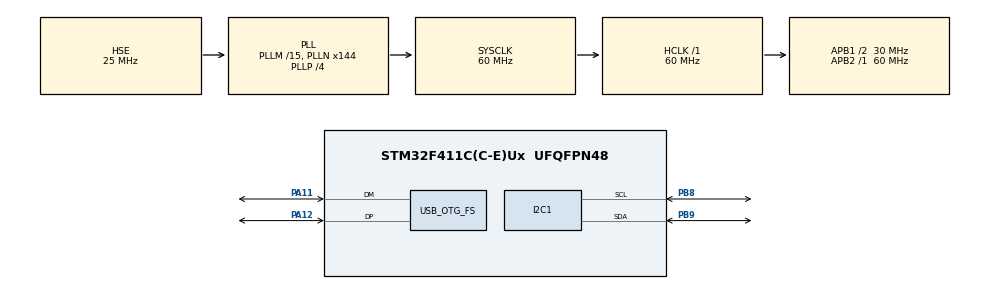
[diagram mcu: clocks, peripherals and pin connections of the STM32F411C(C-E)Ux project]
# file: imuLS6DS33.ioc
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Dma.I2C1_RX.0.Direction=DMA_PERIPH_TO_MEMORY
Dma.I2C1_RX.0.FIFOMode=DMA_FIFOMODE_DISABLE
Dma.I2C1_RX.0.Instance=DMA1_Stream0
Dma.I2C1_RX.0.MemDataAlignment=DMA_MDATAALIGN_BYTE
Dma.I2C1_RX.0.MemInc=DMA_MINC_ENABLE
Dma.I2C1_RX.0.Mode=DMA_NORMAL
Dma.I2C1_RX.0.PeriphDataAlignment=DMA_PDATAALIGN_BYTE
Dma.I2C1_RX.0.PeriphInc=DMA_PINC_DISABLE
Dma.I2C1_RX.0.Priority=DMA_PRIORITY_HIGH
Dma.Request0=I2C1_RX
I2C1.I2C_Mode=I2C_Fast
Mcu.Family=STM32F4
Mcu.Name=STM32F411C(C-E)Ux
Mcu.Package=UFQFPN48
NVIC.DMA1_Stream0_IRQn=true\:0\:0\:false\:false\:true\:false\:true\:true
NVIC.I2C1_ER_IRQn=true\:0\:0\:false\:false\:true\:true\:true\:true
NVIC.OTG_FS_IRQn=true\:0\:0\:false\:false\:true\:true\:true\:true
NVIC.PriorityGroup=NVIC_PRIORITYGROUP_4
NVIC.TIM1_TRG_COM_TIM11_IRQn=true\:0\:0\:false\:false\:true\:true\:true\:true
PA11.Mode=Device_Only
PA11.Signal=USB_OTG_FS_DM
PA12.Mode=Device_Only
PA12.Signal=USB_OTG_FS_DP
PA13.Mode=Serial_Wire
PA13.Signal=SYS_JTMS-SWDIO
PA14.Mode=Serial_Wire
PA14.Signal=SYS_JTCK-SWCLK
PB8.Mode=I2C
PB8.Signal=I2C1_SCL
PB9.Mode=I2C
PB9.Signal=I2C1_SDA
PH0\ -\ OSC_IN.Mode=HSE-External-Oscillator
PH0\ -\ OSC_IN.Signal=RCC_OSC_IN
PH1\ -\ OSC_OUT.Mode=HSE-External-Oscillator
PH1\ -\ OSC_OUT.Signal=RCC_OSC_OUT
ProjectManager.HeapSize=0x200
ProjectManager.StackSize=0x400
ProjectManager.TargetToolchain=STM32CubeIDE
RCC.48MHZClocksFreq_Value=48000000
RCC.AHBFreq_Value=60000000
RCC.APB1CLKDivider=RCC_HCLK_DIV2
RCC.APB1Freq_Value=30000000
RCC.APB1TimFreq_Value=60000000
RCC.APB2Freq_Value=60000000
RCC.APB2TimFreq_Value=60000000
RCC.CortexFreq_Value=60000000
RCC.HCLKFreq_Value=60000000
RCC.HSE_VALUE=25000000
RCC.HSI_VALUE=16000000
RCC.LSE_VALUE=32768
RCC.PLLM=15
RCC.PLLN=144
RCC.PLLP=RCC_PLLP_DIV4
RCC.PLLQ=5
RCC.SYSCLKFreq_VALUE=60000000
RCC.SYSCLKSource=RCC_SYSCLKSOURCE_PLLCLK
RCC.VCOOutputFreq_Value=240000000
TIM11.Period=10000-1
TIM11.Prescaler=60-1
USB_DEVICE.CLASS_NAME_FS=CDC
USB_DEVICE.VirtualMode=Cdc
USB_DEVICE.VirtualModeFS=Cdc_FS
USB_OTG_FS.VirtualMode=Device_Only
VP_TIM11_VS_ClockSourceINT.Mode=Enable_Timer
VP_USB_DEVICE_VS_USB_DEVICE_CDC_FS.Mode=CDC_FS
board=custom

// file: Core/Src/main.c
/* USER CODE BEGIN Header */
/**
  ******************************************************************************
  * @file           : main.c
  * @brief          : Main program body
  ******************************************************************************
  * @attention
  *
  * Copyright (c) 2025 STMicroelectronics.
  * All rights reserved.
  *
  * This software is licensed under terms that can be found in the LICENSE file
  * in the root directory of this software component.
  * If no LICENSE file comes with this software, it is provided AS-IS.
  *
  ******************************************************************************
  */
/* USER CODE END Header */
#include "main.h"
#include "usb_device.h"

/* USER CODE BEGIN Includes */
#include "usbd_cdc_if.h"
/* USER CODE END Includes */

I2C_HandleTypeDef hi2c1;
DMA_HandleTypeDef hdma_i2c1_rx;

TIM_HandleTypeDef htim11;

/* USER CODE BEGIN PV */
static const uint8_t imuAddr = 0b11010100;
static uint8_t imuData[15];
static uint8_t startReading = 0;
/* USER CODE END PV */

void SystemClock_Config(void);
static void MX_GPIO_Init(void);
static void MX_DMA_Init(void);
static void MX_I2C1_Init(void);
static void MX_TIM11_Init(void);

/* USER CODE BEGIN 0 */

void HAL_TIM_PeriodElapsedCallback(TIM_HandleTypeDef *htim)
{
	UNUSED(htim);
	if (startReading)
	{
		HAL_I2C_Mem_Read_DMA(&hi2c1, imuAddr, 0x20, I2C_MEMADD_SIZE_8BIT, imuData, 14);
	}
}

void HAL_I2C_MemRxCpltCallback(I2C_HandleTypeDef *hi2c)
{
	CDC_Transmit_FS(imuData, 14);
}

void onUsbRx(uint8_t* Buf)
{
	if (Buf[0] == 'r')
		startReading = 1;
	else if (Buf[0] == 's')
		startReading = 0;
}

/* USER CODE END 0 */

int main(void)
{

  /* MCU Configuration--------------------------------------------------------*/

  /* Reset of all peripherals, Initializes the Flash interface and the Systick. */
  HAL_Init();

  /* Configure the system clock */
  SystemClock_Config();

  /* Initialize all configured peripherals */
  MX_GPIO_Init();
  MX_DMA_Init();
  MX_I2C1_Init();
  MX_USB_DEVICE_Init();
  MX_TIM11_Init();
  /* USER CODE BEGIN 2 */

  // Auxiliary variables

  //
  // Configure the IMU
  //
  uint8_t byte;

  /*
   * Who am I? (0x0F)
   */
  HAL_I2C_Mem_Read(&hi2c1, imuAddr, 0x0F, I2C_MEMADD_SIZE_8BIT, &byte, 1, 1);
  if (byte != 0b01101001)
  {
	  while (1) {}
  }

  /*
   * Orientation (ORIENT_CFG_G, 0x0B)
   *
   * 0b00xxxxxx
   *     ||||||
   *     |||||+-> Used to select pitch, roll and yaw axes
   *     ||||+--> Used to select pitch, roll and yaw axes
   *     |||+---> Used to select pitch, roll and yaw axes
   *     ||+----> Signal Z axis gyrometer
   *     |+-----> Signal Y axis gyrometer
   *     +------> Signal X axis gyrometer
   */
  //HAL_I2C_Mem_Write(&hi2c1, imuAddr, 0x0B, I2C_MEMADD_SIZE_8BIT, &byte, 1, 1);

  /*
   * Linear acceleration sensor control register 1 (CTRL1_XL, 0x10)
   *
   * - set accelerometer output data rate to 1666 Hz
   * - set accelerometer to +/- 16g (max)
   * - set anti aliasing filter to 400 Hz
   */
  byte = 0b10000100;
  HAL_I2C_Mem_Write(&hi2c1, imuAddr, 0x10, I2C_MEMADD_SIZE_8BIT, &byte, 1, 1);

  /*
   * Angular rate sensor control register 2 (CTRL_2_G, 0x11)
   *
   * - set gyrometer output data rate to 1666 Hz
   * - set gyrometer scale to +/- 2000 dps
   */
  byte = 0b1000110;
  HAL_I2C_Mem_Write(&hi2c1, imuAddr, 0x11, I2C_MEMADD_SIZE_8BIT, &byte, 1, 1);

  // Start timer to read IMU every 10 ms
  HAL_TIM_Base_Start_IT(&htim11);

  /* USER CODE END 2 */

  /* Infinite loop */
  while (1)
  {

  }
}

void SystemClock_Config(void)
{
  RCC_OscInitTypeDef RCC_OscInitStruct = {0};
  RCC_ClkInitTypeDef RCC_ClkInitStruct = {0};

  /** Configure the main internal regulator output voltage
  */
  __HAL_RCC_PWR_CLK_ENABLE();
  __HAL_PWR_VOLTAGESCALING_CONFIG(PWR_REGULATOR_VOLTAGE_SCALE1);

  /** Initializes the RCC Oscillators according to the specified parameters
  * in the RCC_OscInitTypeDef structure.
  */
  RCC_OscInitStruct.OscillatorType = RCC_OSCILLATORTYPE_HSE;
  RCC_OscInitStruct.HSEState = RCC_HSE_ON;
  RCC_OscInitStruct.PLL.PLLState = RCC_PLL_ON;
  RCC_OscInitStruct.PLL.PLLSource = RCC_PLLSOURCE_HSE;
  RCC_OscInitStruct.PLL.PLLM = 15;
  RCC_OscInitStruct.PLL.PLLN = 144;
  RCC_OscInitStruct.PLL.PLLP = RCC_PLLP_DIV4;
  RCC_OscInitStruct.PLL.PLLQ = 5;
  if (HAL_RCC_OscConfig(&RCC_OscInitStruct) != HAL_OK)
  {
    Error_Handler();
  }

  /** Initializes the CPU, AHB and APB buses clocks
  */
  RCC_ClkInitStruct.ClockType = RCC_CLOCKTYPE_HCLK|RCC_CLOCKTYPE_SYSCLK
                              |RCC_CLOCKTYPE_PCLK1|RCC_CLOCKTYPE_PCLK2;
  RCC_ClkInitStruct.SYSCLKSource = RCC_SYSCLKSOURCE_PLLCLK;
  RCC_ClkInitStruct.AHBCLKDivider = RCC_SYSCLK_DIV1;
  RCC_ClkInitStruct.APB1CLKDivider = RCC_HCLK_DIV2;
  RCC_ClkInitStruct.APB2CLKDivider = RCC_HCLK_DIV1;

  if (HAL_RCC_ClockConfig(&RCC_ClkInitStruct, FLASH_LATENCY_1) != HAL_OK)
  {
    Error_Handler();
  }
}

static void MX_I2C1_Init(void)
{

  hi2c1.Instance = I2C1;
  hi2c1.Init.ClockSpeed = 400000;
  hi2c1.Init.DutyCycle = I2C_DUTYCYCLE_2;
  hi2c1.Init.OwnAddress1 = 0;
  hi2c1.Init.AddressingMode = I2C_ADDRESSINGMODE_7BIT;
  hi2c1.Init.DualAddressMode = I2C_DUALADDRESS_DISABLE;
  hi2c1.Init.OwnAddress2 = 0;
  hi2c1.Init.GeneralCallMode = I2C_GENERALCALL_DISABLE;
  hi2c1.Init.NoStretchMode = I2C_NOSTRETCH_DISABLE;
  if (HAL_I2C_Init(&hi2c1) != HAL_OK)
  {
    Error_Handler();
  }

}

static void MX_TIM11_Init(void)
{

  htim11.Instance = TIM11;
  htim11.Init.Prescaler = 60-1;
  htim11.Init.CounterMode = TIM_COUNTERMODE_UP;
  htim11.Init.Period = 10000-1;
  htim11.Init.ClockDivision = TIM_CLOCKDIVISION_DIV1;
  htim11.Init.AutoReloadPreload = TIM_AUTORELOAD_PRELOAD_DISABLE;
  if (HAL_TIM_Base_Init(&htim11) != HAL_OK)
  {
    Error_Handler();
  }

}

static void MX_DMA_Init(void)
{

  /* DMA controller clock enable */
  __HAL_RCC_DMA1_CLK_ENABLE();

  /* DMA interrupt init */
  /* DMA1_Stream0_IRQn interrupt configuration */
  HAL_NVIC_SetPriority(DMA1_Stream0_IRQn, 0, 0);
  HAL_NVIC_EnableIRQ(DMA1_Stream0_IRQn);

}

static void MX_GPIO_Init(void)
{

  /* GPIO Ports Clock Enable */
  __HAL_RCC_GPIOH_CLK_ENABLE();
  __HAL_RCC_GPIOA_CLK_ENABLE();
  __HAL_RCC_GPIOB_CLK_ENABLE();

}

void Error_Handler(void)
{
  __disable_irq();
  while (1)
  {
  }
}
